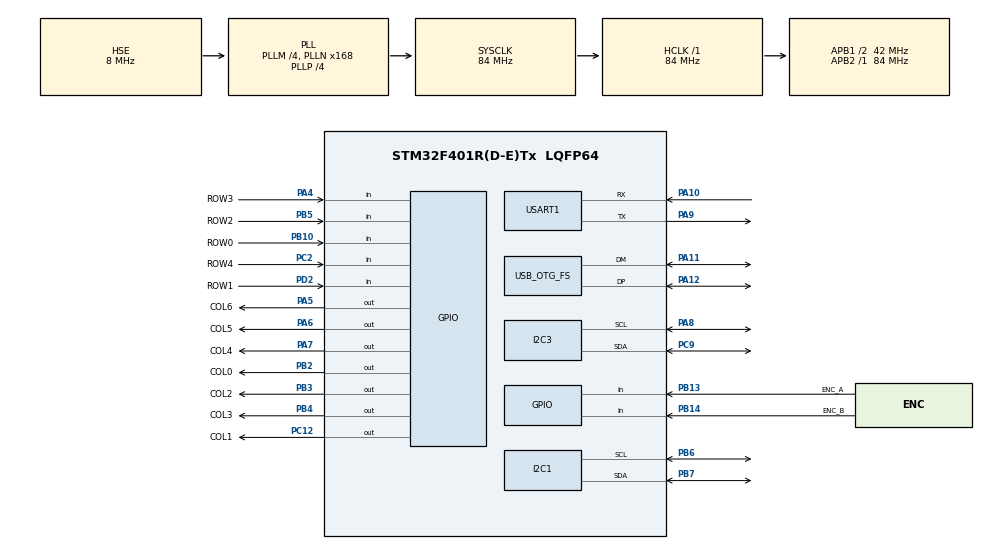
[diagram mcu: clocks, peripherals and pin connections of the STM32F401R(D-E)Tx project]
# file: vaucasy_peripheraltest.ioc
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Mcu.Family=STM32F4
Mcu.Name=STM32F401R(D-E)Tx
Mcu.Package=LQFP64
NVIC.OTG_FS_IRQn=true\:0\:0\:false\:false\:true\:false\:true\:true
NVIC.PriorityGroup=NVIC_PRIORITYGROUP_4
PA10.Mode=Asynchronous
PA10.Signal=USART1_RX
PA11.Mode=Device_Only
PA11.Signal=USB_OTG_FS_DM
PA12.Mode=Device_Only
PA12.Signal=USB_OTG_FS_DP
PA13.Mode=Serial_Wire
PA13.Signal=SYS_JTMS-SWDIO
PA14.Mode=Serial_Wire
PA14.Signal=SYS_JTCK-SWCLK
PA4.GPIO_Label=ROW3
PA4.GPIO_PuPd=GPIO_PULLDOWN
PA4.Signal=GPIO_Input
PA5.GPIO_Label=COL6
PA5.GPIO_PuPd=GPIO_PULLUP
PA5.GPIO_Speed=GPIO_SPEED_FREQ_VERY_HIGH
PA5.Signal=GPIO_Output
PA6.GPIO_Label=COL5
PA6.GPIO_PuPd=GPIO_PULLUP
PA6.GPIO_Speed=GPIO_SPEED_FREQ_VERY_HIGH
PA6.Signal=GPIO_Output
PA7.GPIO_Label=COL4
PA7.GPIO_PuPd=GPIO_PULLUP
PA7.GPIO_Speed=GPIO_SPEED_FREQ_VERY_HIGH
PA7.Signal=GPIO_Output
PA8.Mode=I2C
PA8.Signal=I2C3_SCL
PA9.Mode=Asynchronous
PA9.Signal=USART1_TX
PB10.GPIO_Label=ROW0
PB10.GPIO_PuPd=GPIO_PULLDOWN
PB10.Signal=GPIO_Input
PB13.GPIO_Label=ENC_A
PB13.GPIO_PuPd=GPIO_PULLUP
PB13.Signal=GPIO_Input
PB14.GPIO_Label=ENC_B
PB14.GPIO_PuPd=GPIO_PULLUP
PB14.Signal=GPIO_Input
PB2.GPIO_Label=COL0
PB2.GPIO_PuPd=GPIO_PULLUP
PB2.GPIO_Speed=GPIO_SPEED_FREQ_VERY_HIGH
PB2.PinState=GPIO_PIN_RESET
PB2.Signal=GPIO_Output
PB3.GPIO_Label=COL2
PB3.GPIO_PuPd=GPIO_PULLUP
PB3.GPIO_Speed=GPIO_SPEED_FREQ_VERY_HIGH
PB3.Signal=GPIO_Output
PB4.GPIO_Label=COL3
PB4.GPIO_PuPd=GPIO_PULLUP
PB4.GPIO_Speed=GPIO_SPEED_FREQ_VERY_HIGH
PB4.Signal=GPIO_Output
PB5.GPIO_Label=ROW2
PB5.GPIO_PuPd=GPIO_PULLDOWN
PB5.Signal=GPIO_Input
PB6.Mode=I2C
PB6.Signal=I2C1_SCL
PB7.Mode=I2C
PB7.Signal=I2C1_SDA
PC12.GPIO_Label=COL1
PC12.GPIO_PuPd=GPIO_PULLUP
PC12.GPIO_Speed=GPIO_SPEED_FREQ_VERY_HIGH
PC12.Signal=GPIO_Output
PC2.GPIO_Label=ROW4
PC2.GPIO_PuPd=GPIO_PULLDOWN
PC2.Signal=GPIO_Input
PC9.Mode=I2C
PC9.Signal=I2C3_SDA
PD2.GPIO_Label=ROW1
PD2.GPIO_PuPd=GPIO_PULLDOWN
PD2.Signal=GPIO_Input
PH0\ -\ OSC_IN.Mode=HSE-External-Oscillator
PH0\ -\ OSC_IN.Signal=RCC_OSC_IN
PH1\ -\ OSC_OUT.Mode=HSE-External-Oscillator
PH1\ -\ OSC_OUT.Signal=RCC_OSC_OUT
ProjectManager.HeapSize=0x600
ProjectManager.StackSize=0x400
ProjectManager.TargetToolchain=STM32CubeIDE
RCC.48MHZClocksFreq_Value=48000000
RCC.AHBFreq_Value=84000000
RCC.APB1CLKDivider=RCC_HCLK_DIV2
RCC.APB1Freq_Value=42000000
RCC.APB1TimFreq_Value=84000000
RCC.APB2Freq_Value=84000000
RCC.APB2TimFreq_Value=84000000
RCC.CortexFreq_Value=84000000
RCC.HCLKFreq_Value=84000000
RCC.HSE_VALUE=8000000
RCC.HSI_VALUE=16000000
RCC.LSE_VALUE=32768
RCC.PLLM=4
RCC.PLLN=168
RCC.PLLP=RCC_PLLP_DIV4
RCC.PLLQ=7
RCC.SYSCLKFreq_VALUE=84000000
RCC.SYSCLKSource=RCC_SYSCLKSOURCE_PLLCLK
RCC.VCOOutputFreq_Value=336000000
USART1.VirtualMode=VM_ASYNC
USB_DEVICE.CLASS_NAME_FS=HID
USB_DEVICE.HID_FS_BINTERVAL=0x1
USB_DEVICE.PRODUCT_STRING_HID_FS=vaucasy
USB_DEVICE.USBD_MAX_NUM_INTERFACES-HID_FS=3
USB_DEVICE.VirtualMode-HID_FS=Hid
USB_DEVICE.VirtualModeFS=Hid_FS
USB_OTG_FS.VirtualMode=Device_Only
VP_USB_DEVICE_VS_USB_DEVICE_HID_FS.Mode=HID_FS
board=custom

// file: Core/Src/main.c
/* USER CODE BEGIN Header */
/**
 ******************************************************************************
 * @file           : main.c
 * @brief          : Main program body
 ******************************************************************************
 * @attention
 *
 * Copyright (c) 2024 STMicroelectronics.
 * All rights reserved.
 *
 * This software is licensed under terms that can be found in the LICENSE file
 * in the root directory of this software component.
 * If no LICENSE file comes with this software, it is provided AS-IS.
 *
 ******************************************************************************
 */
/* USER CODE END Header */
#include "main.h"
#include "i2c.h"
#include "usart.h"
#include "usb_device.h"
#include "gpio.h"

/* USER CODE BEGIN Includes */
#include "usbd_hid.h"
//#include "usbd_custom_hid_if.h"
/* USER CODE END Includes */

/* USER CODE BEGIN PD */

#define ROWS 5
#define COLS 7

/* USER CODE END PD */

void SystemClock_Config(void);

/* USER CODE BEGIN 0 */

// 2x2 clusterrel kiolvasas teszt
typedef struct colrow {
	GPIO_TypeDef *GPIO_PORT;
	uint16_t GPIO_PIN;
}colrow;

/* USER CODE END 0 */

int main(void)
{
  /* USER CODE BEGIN 1 */

	colrow COL[COLS] = {
			{COL0_GPIO_Port, COL0_Pin},
			{COL1_GPIO_Port, COL1_Pin},
			{COL2_GPIO_Port, COL2_Pin},
			{COL3_GPIO_Port, COL3_Pin},
			{COL4_GPIO_Port, COL4_Pin},
			{COL5_GPIO_Port, COL5_Pin},
			{COL6_GPIO_Port, COL6_Pin}
	};

	colrow ROW[ROWS] = {
			{ROW0_GPIO_Port, ROW0_Pin},
			{ROW1_GPIO_Port, ROW1_Pin},
			{ROW2_GPIO_Port, ROW2_Pin},
			{ROW3_GPIO_Port, ROW3_Pin},
			{ROW4_GPIO_Port, ROW4_Pin}
	};

	//	uint8_t keyMap[2][2] = {
	//			{KEY_A, KEY_S},
	//			{KEY_D, KEY_W}
	//	};

	uint8_t keyMap[ROWS][COLS] = {
			{KC_ESC, HU_0, KC_1, KC_2, KC_3, KC_4, KC_5},
			{KC_CAPSLOCK, KC_TAB, KC_Q, KC_W, KC_E, KC_R, KC_T},
			{KC_NONE, KC_NONE, KC_A, KC_S, KC_D, KC_F, KC_G},
			{KC_NONE, HU_IACU, HU_Y, KC_X, KC_C, KC_V, KC_B},
			{KC_NONE, KC_NONE, KC_NONE, KC_MEDIA_PLAYPAUSE, KC_NONE, KC_SPACE, KC_NONE}

	};

	uint8_t modMap[ROWS][COLS] = {
			{KC_NONE,KC_NONE,KC_NONE,KC_NONE,KC_NONE,KC_NONE,KC_NONE},
			{KC_NONE,KC_NONE,KC_NONE,KC_NONE,KC_NONE,KC_NONE,KC_NONE},
			{KC_MOD_LMETA,KC_MOD_LSHIFT,KC_NONE,KC_NONE,KC_NONE,KC_NONE,KC_NONE},
			{KC_MOD_LCTRL,KC_NONE,KC_NONE,KC_NONE,KC_NONE,KC_NONE,KC_NONE},
			{KC_NONE,KC_NONE,KC_NONE,KC_NONE,KC_MOD_LALT,KC_NONE,KC_NONE}
	};

  /* USER CODE END 1 */

  /* MCU Configuration--------------------------------------------------------*/

  /* Reset of all peripherals, Initializes the Flash interface and the Systick. */
  HAL_Init();

  /* Configure the system clock */
  SystemClock_Config();

  /* Initialize all configured peripherals */
  MX_GPIO_Init();
  MX_I2C1_Init();
  MX_I2C3_Init();
  MX_USB_DEVICE_Init();
  MX_USART1_UART_Init();
  /* USER CODE BEGIN 2 */

	extern USBD_HandleTypeDef hUsbDeviceFS;
	uint8_t keyState[ROWS][COLS] = {0};  // Keeps track of the current state of each key
	uint8_t HID_buffer[8] = {0};         // USB HID report buffer
	uint32_t keyTimers[ROWS][COLS] = {0}; // Key debounce and repeat timers
	const uint32_t debounceDelay = 5;    // Debounce delay in ms

  /* USER CODE END 2 */

  /* Infinite loop */
	while (1)
	{

    /* USER CODE BEGIN 3 */

		// ------------------ test 1 -----------------------

		//	  HID_buffer[0] = 2; //left shift down
		//	  HID_buffer[3] = 7; // d down
		//	  USBD_HID_SendReport(&hUsbDeviceFS, HID_buffer, 8);
		//
		//	  HAL_Delay(20);
		//
		//	  HID_buffer[0] = 0; //left shift up
		//	  HID_buffer[3] = 0; // d up
		//	  USBD_HID_SendReport(&hUsbDeviceFS, HID_buffer, 8);
		//
		//	  HAL_Delay(2000);

		// ------------------ test 2 -----------------------

		//COL6 es ROW0 a sarki billentyu
		//	  HAL_GPIO_WritePin(COL6_GPIO_Port, COL6_Pin, GPIO_PIN_SET);
		//	  HAL_Delay(10);
		//	  if( HAL_GPIO_ReadPin(ROW0_GPIO_Port, ROW0_Pin) == GPIO_PIN_SET ) {
		//
		//	  	  HID_buffer[0] = 2; //left shift down
		//	  	  HID_buffer[3] = 7; // d down
		//	  	  USBD_HID_SendReport(&hUsbDeviceFS, HID_buffer, 8);
		//
		//	  	  HAL_Delay(20);
		//
		//	  	  HID_buffer[0] = 0; //left shift up
		//	  	  HID_buffer[3] = 0; // d up
		//	  	  USBD_HID_SendReport(&hUsbDeviceFS, HID_buffer, 8);
		//
		//	  	  HAL_Delay(150);
		//	  	  HAL_GPIO_WritePin(COL6_GPIO_Port, COL6_Pin, GPIO_PIN_RESET);
		//	  	  HAL_Delay(20);
		//	  }

		// ------------------ version 1 -----------------------

		//	  for (uint8_t i = 0; i < 2; i++) {
		//		  for (uint8_t c = 0; c < 2; c++) {
		//			  HAL_GPIO_WritePin(COL[c].GPIO_PORT, COL[c].GPIO_PIN, (c == i) ? GPIO_PIN_SET : GPIO_PIN_RESET);
		//		  }
		//
		//		  HAL_Delay(1);
		//
		//		  for(uint8_t j = 0; j < 2; j++) {
		//			  if( HAL_GPIO_ReadPin(ROW[j].GPIO_PORT, ROW[j].GPIO_PIN) == GPIO_PIN_SET ) {
		//				  HID_buffer[3] = keyMap[i][j];
		//				  USBD_HID_SendReport(&hUsbDeviceFS, HID_buffer, 8);
		//
		//				  HAL_Delay(20);
		//
		//				  HID_buffer[3] = 0;
		//				  USBD_HID_SendReport(&hUsbDeviceFS, HID_buffer, 8);
		//
		//			  }
		//			  HAL_Delay(5);
		//		  }
		//	  }

		// ------------------ version 2 -----------------------

		//	  for (uint8_t i = 0; i < 2; i++) {
		//	      // Activate only the current column
		//	      for (uint8_t c = 0; c < 2; c++) {
		//	          HAL_GPIO_WritePin(COL[c].GPIO_PORT, COL[c].GPIO_PIN, (c == i) ? GPIO_PIN_SET : GPIO_PIN_RESET);
		//	      }
		//
		//	      HAL_Delay(1); // Stabilize signals
		//
		//	      // Check rows
		//	      for (uint8_t j = 0; j < 2; j++) {
		//	          if (HAL_GPIO_ReadPin(ROW[j].GPIO_PORT, ROW[j].GPIO_PIN) == GPIO_PIN_SET) {
		//	              // Key press detected
		//	              HID_buffer[3] = 7; // Example keycode
		//	              USBD_HID_SendReport(&hUsbDeviceFS, HID_buffer, 8);
		//
		//	              HAL_Delay(20);
		//
		//	              HID_buffer[3] = 0; // Release key
		//	              USBD_HID_SendReport(&hUsbDeviceFS, HID_buffer, 8);
		//	          }
		//	      }
		//
		//	      HAL_Delay(5); // Small delay before switching columns
		//	  }

		//--------------------- version 3 -----------------------
		//	  uint8_t keyIndex = 2; // Start filling keycodes from HID_buffer[2]
		//	      memset(HID_buffer + 2, 0, 6); // Clear keycode slots
		//
		//	      for (uint8_t i = 0; i < COLS; i++) {
		//	          // Activate only the current column
		//	          for (uint8_t c = 0; c < COLS; c++) {
		//	              HAL_GPIO_WritePin(COL[c].GPIO_PORT, COL[c].GPIO_PIN, (c == i) ? GPIO_PIN_SET : GPIO_PIN_RESET);
		//	          }
		//
		//	          HAL_Delay(1); // Allow signal to stabilize
		//
		//	          // Check rows for pressed keys
		//	          for (uint8_t j = 0; j < ROWS; j++) {
		//	              uint8_t isPressed = HAL_GPIO_ReadPin(ROW[j].GPIO_PORT, ROW[j].GPIO_PIN) == GPIO_PIN_SET;
		//
		//	              // Detect key press (pressed now but not before)
		//	              if (isPressed && keyState[j][i] == 0) {
		//	                  if (keyIndex < 8) {
		//	                      HID_buffer[keyIndex++] = keyMap[j][i]; // Add keycode to HID buffer
		//	                  }
		//	                  keyState[j][i] = 1; // Update key state to pressed
		//	              }
		//	              // Detect key release (was pressed before but not now)
		//	              else if (!isPressed && keyState[j][i] == 1) {
		//	                  keyState[j][i] = 0; // Update key state to released
		//	              }
		//	          }
		//
		//	          HAL_Delay(5); // Small delay before switching columns 1122443312214343341212121212121432124311324
		//	      }
		//
		//	      // Send HID report only if there’s a change
		//	      if (memcmp(HID_buffer, previousHIDBuffer, 8) != 0) {
		//	          USBD_HID_SendReport(&hUsbDeviceFS, HID_buffer, 8);
		//	          memcpy(previousHIDBuffer, HID_buffer, 8); // Update previous buffer
		//	      }

		//--------------------- version 4 -----------------------

		uint8_t keyIndex = 2; // Start filling keycodes from HID_buffer[2]
		memset(HID_buffer, 0, 8); // Clear keycode slots

		for (uint8_t i = 0; i < COLS; i++) {
			// Activate only the current column
			for (uint8_t c = 0; c < COLS; c++) {
				HAL_GPIO_WritePin(COL[c].GPIO_PORT, COL[c].GPIO_PIN, (c == i) ? GPIO_PIN_SET : GPIO_PIN_RESET);
			}

			HAL_Delay(1); // Allow signal to stabilize

			// Check rows for pressed keys
			for (uint8_t j = 0; j < ROWS; j++) {
				uint8_t isPressed = HAL_GPIO_ReadPin(ROW[j].GPIO_PORT, ROW[j].GPIO_PIN) == GPIO_PIN_SET;
				uint32_t currentTime = HAL_GetTick();

				if (isPressed) {
					// Handle key press or hold
					if ( ( keyState[j][i] == 0 && (currentTime - keyTimers[j][i] >= debounceDelay) ) || (keyState[j][i] == 1 )) { // It it is not pressed yet, or it is held down
						if (modMap[j][i] != KC_NONE) {
							// It's a modifier key, set the corresponding bit in HID_buffer[0]
							HID_buffer[0] |= modMap[j][i];
						}
						else {
							if (keyIndex < 8) {
								HID_buffer[keyIndex++] = keyMap[j][i]; // Add keycode to HID buffer
							}
						}
						keyTimers[j][i] = currentTime; // Reset timer for repeat
						keyState[j][i] = 1; // Mark key as pressed
					}
				}
				else {
					if (keyState[j][i] == 1 && (currentTime - keyTimers[j][i] >= debounceDelay)) {
						keyState[j][i] = 0; // Mark as released
						keyTimers[j][i] = currentTime; // Reset timer
					}
				}
			}

			HAL_Delay(1); // Small delay before switching columns
		}

		//USBD_HID_SendReport(&hUsbDeviceFS, HID_buffer, 8);
		USBD_CUSTOM_HID_SendReport(&hUsbDeviceFS, HID_buffer, 8, 0);

		// TODOs: modifier keys, media keys (custom or composite HID class needed?
		// 		UART connection and communication between sides (half duplex)
		// 		Encoder, OLED, trackball

	}
  /* USER CODE END 3 */
}

void SystemClock_Config(void)
{
  RCC_OscInitTypeDef RCC_OscInitStruct = {0};
  RCC_ClkInitTypeDef RCC_ClkInitStruct = {0};

  /** Configure the main internal regulator output voltage
  */
  __HAL_RCC_PWR_CLK_ENABLE();
  __HAL_PWR_VOLTAGESCALING_CONFIG(PWR_REGULATOR_VOLTAGE_SCALE2);

  /** Initializes the RCC Oscillators according to the specified parameters
  * in the RCC_OscInitTypeDef structure.
  */
  RCC_OscInitStruct.OscillatorType = RCC_OSCILLATORTYPE_HSE;
  RCC_OscInitStruct.HSEState = RCC_HSE_ON;
  RCC_OscInitStruct.PLL.PLLState = RCC_PLL_ON;
  RCC_OscInitStruct.PLL.PLLSource = RCC_PLLSOURCE_HSE;
  RCC_OscInitStruct.PLL.PLLM = 4;
  RCC_OscInitStruct.PLL.PLLN = 168;
  RCC_OscInitStruct.PLL.PLLP = RCC_PLLP_DIV4;
  RCC_OscInitStruct.PLL.PLLQ = 7;
  if (HAL_RCC_OscConfig(&RCC_OscInitStruct) != HAL_OK)
  {
    Error_Handler();
  }

  /** Initializes the CPU, AHB and APB buses clocks
  */
  RCC_ClkInitStruct.ClockType = RCC_CLOCKTYPE_HCLK|RCC_CLOCKTYPE_SYSCLK
                              |RCC_CLOCKTYPE_PCLK1|RCC_CLOCKTYPE_PCLK2;
  RCC_ClkInitStruct.SYSCLKSource = RCC_SYSCLKSOURCE_PLLCLK;
  RCC_ClkInitStruct.AHBCLKDivider = RCC_SYSCLK_DIV1;
  RCC_ClkInitStruct.APB1CLKDivider = RCC_HCLK_DIV2;
  RCC_ClkInitStruct.APB2CLKDivider = RCC_HCLK_DIV1;

  if (HAL_RCC_ClockConfig(&RCC_ClkInitStruct, FLASH_LATENCY_2) != HAL_OK)
  {
    Error_Handler();
  }
}

void Error_Handler(void)
{
	__disable_irq();
	while (1)
	{
	}
}
